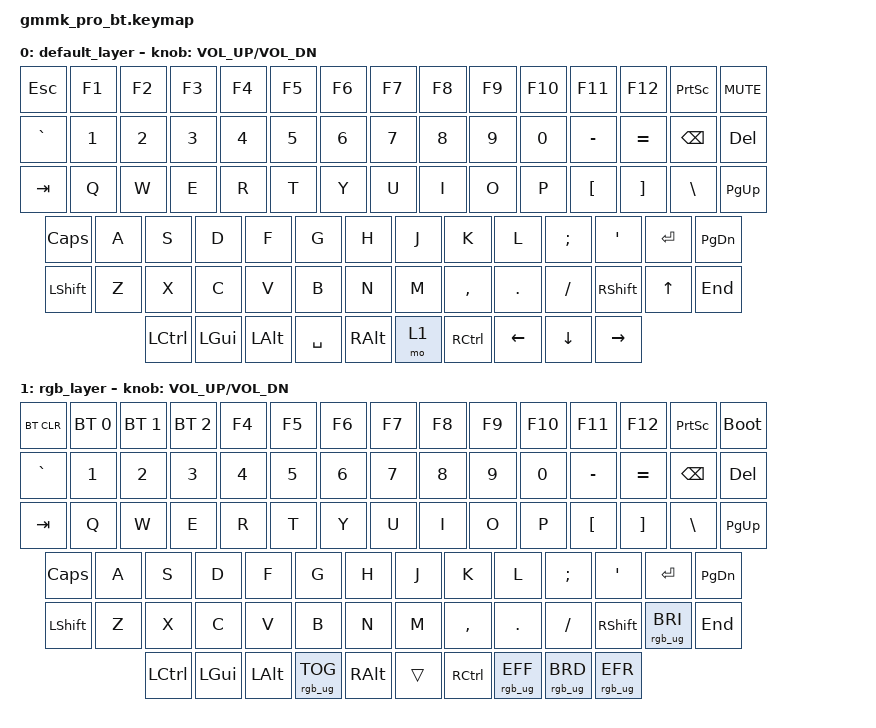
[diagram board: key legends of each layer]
/*
 * Copyright (c) 2022 UNGODLY DESIGN
 *
 * SPDX-License-Identifier: MIT
 */

 #include <behaviors.dtsi>
 #include <dt-bindings/zmk/keys.h>
 #include <dt-bindings/zmk/rgb.h>
 #include <dt-bindings/zmk/bt.h>

/ {
	keymap {
		compatible = "zmk,keymap";

		default_layer {
    // ---------------------------------------------------------------------------------------------------
    // | ESC |  F1 |  F2 |  F3 |  F4 |  F5 |  F6 | F7 |  F8 |  F9 |  F10 |  F11 |  F12 | PSCRN  |  MUTE  |
    // | ` |  1  |  2  |  3  |  4  |  5  |  6  |  7  |  8  |  9  |  0  |  -  |  =  |   BKSP     |  DEL   |
    // | TAB  |  Q  |  W  |  E  |  R  |  T  |  Y  |  U  |  I  |  O  |  P  |  [  |  ]  |   "|"   |  PGUP  |
    // | CAPS  |  A  |  S  |  D  |  F  |  G  |  H  |  J  |  K  |  L  |  ;  |  '  |     ENTER    |  PGDN  |
    // |  SHIFT  |  Z  |  X  |  C  |  V  |  B  |  N  |  M  |  ,  |  .  |  /  |   SHIFT   |  UP  |  END   |
    // |  CTL  |  WIN  |  ALT  |            SPACE             | ALT | MO(1) | CTL | LEFT | DOWN |  RIGHT |
    // ---------------------------------------------------------------------------------------------------
			bindings = <
  &kp ESC   &kp F1   &kp F2 &kp F3 &kp F4 &kp F5 &kp F6 &kp F7 &kp F8    &kp F9  &kp F10   &kp F11   &kp F12   &kp PSCRN &kp C_MUTE
	&kp GRAVE &kp N1   &kp N2 &kp N3 &kp N4 &kp N5 &kp N6 &kp N7 &kp N8    &kp N9  &kp N0    &kp MINUS &kp EQUAL &kp BSPC  &kp DEL
	&kp TAB   &kp Q    &kp W  &kp E  &kp R  &kp T  &kp Y  &kp U  &kp I     &kp O   &kp P     &kp LBKT  &kp RBKT  &kp BSLH  &kp PG_UP
	&kp CLCK  &kp A    &kp S  &kp D  &kp F  &kp G  &kp H  &kp J  &kp K     &kp L   &kp SEMI  &kp SQT             &kp RET   &kp PG_DN
	&kp LSHFT &kp Z    &kp X  &kp C  &kp V  &kp B  &kp N  &kp M  &kp COMMA &kp DOT &kp FSLH  &kp RSHFT           &kp UP    &kp END
	&kp LCTRL &kp LGUI &kp LALT             &kp SPACE            &kp RALT  &mo 1   &kp RCTRL           &kp LEFT  &kp DOWN  &kp RIGHT
			>;
			sensor-bindings = <&inc_dec_kp C_VOL_UP C_VOL_DN>;
		};

		rgb_layer {
    // ---------------------------------------------------------------------------------------------------
    // |BTCLR| BT1 | BT2 | BT3 |  F4 |  F5 |  F6 | F7 |  F8 |  F9 |  F10 |  F11 |  F12 | PSCRN  |  RESET |
    // | ` |  1  |  2  |  3  |  4  |  5  |  6  |  7  |  8  |  9  |  0  |  -  |  =  |   BKSP     |  DEL   |
    // | TAB  |  Q  |  W  |  E  |  R  |  T  |  Y  |  U  |  I  |  O  |  P  |  [  |  ]  |   "|"   |  PGUP  |
    // | CAPS  |  A  |  S  |  D  |  F  |  G  |  H  |  J  |  K  |  L  |  ;  |  '  |     ENTER    |  PGDN  |
    // |  SHIFT  |  Z  |  X  |  C  |  V  |  B  |  N  |  M  |  ,  |  .  |  /  |   SHIFT   | RGB+ |  END   |
    // |  CTL  |  WIN  |  ALT  |           RGB_TOG            | ALT |       | CTL | RGB_F| RGB- |  RGB_R |
    // ---------------------------------------------------------------------------------------------------
			bindings = <
  &bt BT_CLR &bt BT_SEL 0 &bt BT_SEL 1 &bt BT_SEL 2 &kp F4 &kp F5 &kp F6 &kp F7 &kp F8    &kp F9  &kp F10   &kp F11   &kp F12   &kp PSCRN  &bootloader
	&kp GRAVE  &kp N1       &kp N2       &kp N3       &kp N4 &kp N5 &kp N6 &kp N7 &kp N8    &kp N9  &kp N0    &kp MINUS &kp EQUAL &kp BSPC   &kp DEL
  &kp TAB    &kp Q        &kp W        &kp E        &kp R  &kp T  &kp Y  &kp U  &kp I     &kp O   &kp P     &kp LBKT  &kp RBKT  &kp BSLH   &kp PG_UP
	&kp CLCK   &kp A        &kp S        &kp D        &kp F  &kp G  &kp H  &kp J  &kp K     &kp L   &kp SEMI  &kp SQT             &kp RET    &kp PG_DN
	&kp LSHFT  &kp Z        &kp X        &kp C        &kp V  &kp B  &kp N  &kp M  &kp COMMA &kp DOT &kp FSLH  &kp RSHFT           &rgb_ug RGB_BRI   &kp END
	&kp LCTRL  &kp LGUI     &kp LALT                         &rgb_ug RGB_TOG      &kp RALT  &trans  &kp RCTRL &rgb_ug RGB_EFF     &rgb_ug RGB_BRD   &rgb_ug RGB_EFR
			>;
			sensor-bindings = <&inc_dec_kp C_VOL_UP C_VOL_DN>;
		};
	};
};
